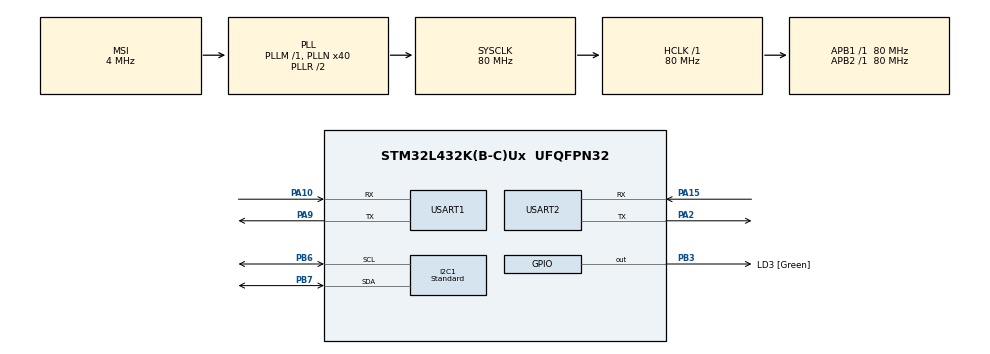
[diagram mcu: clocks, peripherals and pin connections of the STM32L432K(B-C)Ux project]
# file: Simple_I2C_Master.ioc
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I2C1.I2C_Speed_Mode=I2C_Standard
I2C1.Timing=0x10909CEC
Mcu.Family=STM32L4
Mcu.Name=STM32L432K(B-C)Ux
Mcu.Package=UFQFPN32
NVIC.I2C1_ER_IRQn=true\:0\:0\:false\:false\:true\:true\:true\:true
NVIC.I2C1_EV_IRQn=true\:0\:0\:false\:false\:true\:true\:true\:true
NVIC.PriorityGroup=NVIC_PRIORITYGROUP_4
NVIC.USART1_IRQn=true\:0\:0\:false\:false\:true\:true\:true\:true
PA10.Mode=Asynchronous
PA10.Signal=USART1_RX
PA15\ (JTDI).Mode=Asynchronous
PA15\ (JTDI).Signal=USART2_RX
PA2.Mode=Asynchronous
PA2.Signal=USART2_TX
PA9.Mode=Asynchronous
PA9.Signal=USART1_TX
PB3\ (JTDO-TRACESWO).GPIO_Label=LD3 [Green]
PB3\ (JTDO-TRACESWO).Signal=GPIO_Output
PB6.GPIO_Pu=GPIO_PULLUP
PB6.Mode=I2C
PB6.Signal=I2C1_SCL
PB7.GPIO_Pu=GPIO_PULLUP
PB7.Mode=I2C
PB7.Signal=I2C1_SDA
PC14-OSC32_IN\ (PC14).Signal=RCC_OSC32_IN
PC15-OSC32_OUT\ (PC15).Signal=RCC_OSC32_OUT
ProjectManager.HeapSize=0x200
ProjectManager.StackSize=0x400
ProjectManager.TargetToolchain=STM32CubeIDE
RCC.AHBFreq_Value=80000000
RCC.APB1Freq_Value=80000000
RCC.APB1TimFreq_Value=80000000
RCC.APB2Freq_Value=80000000
RCC.APB2TimFreq_Value=80000000
RCC.CortexFreq_Value=80000000
RCC.HCLKFreq_Value=80000000
RCC.HSE_VALUE=8000000
RCC.HSI16_VALUE=16000000
RCC.HSI48_VALUE=48000000
RCC.HSI_VALUE=16000000
RCC.LSE_VALUE=32768
RCC.MSI_VALUE=4000000
RCC.PLLMUL=RCC_PLLMUL_4
RCC.PLLN=40
RCC.SYSCLKFreq_VALUE=80000000
RCC.SYSCLKSource=RCC_SYSCLKSOURCE_PLLCLK
RCC.VCOOutputFreq_Value=160000000
USART1.VirtualMode-Asynchronous=VM_ASYNC
USART2.VirtualMode-Asynchronous=VM_ASYNC
board=NUCLEO-L432KC

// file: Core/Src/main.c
/* USER CODE BEGIN Header */
/**
 ******************************************************************************
 * @file           : main.c
 * @brief          : Main program body
 ******************************************************************************
 * @attention
 *
 * Copyright (c) 2023 STMicroelectronics.
 * All rights reserved.
 *
 * This software is licensed under terms that can be found in the LICENSE file
 * in the root directory of this software component.
 * If no LICENSE file comes with this software, it is provided AS-IS.
 *
 ******************************************************************************
 */
/* USER CODE END Header */
#include "main.h"

/* USER CODE BEGIN Includes */
#include <stdlib.h>
#include <string.h>
#include <stdio.h>
/* USER CODE END Includes */

/* USER CODE BEGIN PD */
#define TX_BUFFER_SIZE sizeof(tx_buffer)/sizeof(*(tx_buffer))
#define RX_BUFFER_SIZE sizeof(tx_buffer)/sizeof(*(tx_buffer))
/* USER CODE END PD */

I2C_HandleTypeDef hi2c1;

UART_HandleTypeDef huart1;
UART_HandleTypeDef huart2;

/* USER CODE BEGIN PV */
uint8_t tx_buffer[20] = "BMS\r";
uint8_t rx_buffer[RX_BUFFER_SIZE];
uint8_t received_data[50];
uint8_t data_received = 0;
uint32_t beat = 0;
uint8_t slave_address = 0x17 << 1;
uint8_t i2c_tx_completed = 0;
float current = 0;
float voltage = 0;
float soc_estimated = 0;
float soc_measured = 0;
float temperature = 0;
int16_t telapsed = 0;
/* USER CODE END PV */

void SystemClock_Config(void);
static void MX_GPIO_Init(void);
static void MX_I2C1_Init(void);
static void MX_USART1_UART_Init(void);
static void MX_USART2_UART_Init(void);
/* USER CODE BEGIN PFP */
void Heartbeat();
/* USER CODE END PFP */

int main(void)
{

  /* MCU Configuration--------------------------------------------------------*/

  /* Reset of all peripherals, Initializes the Flash interface and the Systick. */
  HAL_Init();

  /* Configure the system clock */
  SystemClock_Config();

  /* Initialize all configured peripherals */
  MX_GPIO_Init();
  MX_I2C1_Init();
  MX_USART1_UART_Init();
  MX_USART2_UART_Init();
  /* USER CODE BEGIN 2 */
	while (HAL_I2C_GetState(&hi2c1) != HAL_I2C_STATE_READY) {
	} //Wait until the I2C peripheral is ready to sent
	HAL_I2C_Master_Seq_Transmit_IT(&hi2c1, slave_address, tx_buffer, TX_BUFFER_SIZE, I2C_FIRST_FRAME); //Sent write request.
  /* USER CODE END 2 */

  /* Infinite loop */
  /* USER CODE BEGIN WHILE */
	while (1) {
		Heartbeat();
		if (i2c_tx_completed == 1
				&& HAL_I2C_GetState(&hi2c1) == HAL_I2C_STATE_READY) { //Slave has received write command, let's read from slave
			HAL_I2C_Master_Seq_Receive_IT(&hi2c1, slave_address, rx_buffer, RX_BUFFER_SIZE, I2C_FIRST_FRAME);
			i2c_tx_completed = 0;
		}
		if (data_received == 1) {
			// Transmission has finished, process data
			current = ((int16_t)(rx_buffer[0]<<8) | rx_buffer[1])/1000.0;
			voltage = ((int16_t)(rx_buffer[2]<<8) | rx_buffer[3])/1000.0;
			temperature = ((int16_t)(rx_buffer[4]<<8) | rx_buffer[5])/1000.0;
			soc_estimated = ((int16_t)(rx_buffer[6]<<8) | rx_buffer[7])/1000.0;
			soc_measured = ((int16_t)(rx_buffer[8]<<8) | rx_buffer[9])/1000.0;
			telapsed = ((int16_t)(rx_buffer[10]<<8) | rx_buffer[11])/1000.0;
			// Transmission has finished, let's repeat the process.
			data_received = 0; //Clean flag
			HAL_Delay(100-1); // Request data every 100ms
			while (HAL_I2C_GetState(&hi2c1) != HAL_I2C_STATE_READY) {
			}
			HAL_I2C_Master_Seq_Transmit_IT(&hi2c1, slave_address, tx_buffer, TX_BUFFER_SIZE, I2C_FIRST_FRAME);
		}
    /* USER CODE END WHILE */

	}
}

void SystemClock_Config(void)
{
  RCC_OscInitTypeDef RCC_OscInitStruct = {0};
  RCC_ClkInitTypeDef RCC_ClkInitStruct = {0};

  /** Configure the main internal regulator output voltage
  */
  if (HAL_PWREx_ControlVoltageScaling(PWR_REGULATOR_VOLTAGE_SCALE1) != HAL_OK)
  {
    Error_Handler();
  }

  /** Initializes the RCC Oscillators according to the specified parameters
  * in the RCC_OscInitTypeDef structure.
  */
  RCC_OscInitStruct.OscillatorType = RCC_OSCILLATORTYPE_MSI;
  RCC_OscInitStruct.MSIState = RCC_MSI_ON;
  RCC_OscInitStruct.MSICalibrationValue = 0;
  RCC_OscInitStruct.MSIClockRange = RCC_MSIRANGE_6;
  RCC_OscInitStruct.PLL.PLLState = RCC_PLL_ON;
  RCC_OscInitStruct.PLL.PLLSource = RCC_PLLSOURCE_MSI;
  RCC_OscInitStruct.PLL.PLLM = 1;
  RCC_OscInitStruct.PLL.PLLN = 40;
  RCC_OscInitStruct.PLL.PLLP = RCC_PLLP_DIV7;
  RCC_OscInitStruct.PLL.PLLQ = RCC_PLLQ_DIV2;
  RCC_OscInitStruct.PLL.PLLR = RCC_PLLR_DIV2;
  if (HAL_RCC_OscConfig(&RCC_OscInitStruct) != HAL_OK)
  {
    Error_Handler();
  }

  /** Initializes the CPU, AHB and APB buses clocks
  */
  RCC_ClkInitStruct.ClockType = RCC_CLOCKTYPE_HCLK|RCC_CLOCKTYPE_SYSCLK
                              |RCC_CLOCKTYPE_PCLK1|RCC_CLOCKTYPE_PCLK2;
  RCC_ClkInitStruct.SYSCLKSource = RCC_SYSCLKSOURCE_PLLCLK;
  RCC_ClkInitStruct.AHBCLKDivider = RCC_SYSCLK_DIV1;
  RCC_ClkInitStruct.APB1CLKDivider = RCC_HCLK_DIV1;
  RCC_ClkInitStruct.APB2CLKDivider = RCC_HCLK_DIV1;

  if (HAL_RCC_ClockConfig(&RCC_ClkInitStruct, FLASH_LATENCY_4) != HAL_OK)
  {
    Error_Handler();
  }
}

static void MX_I2C1_Init(void)
{

  hi2c1.Instance = I2C1;
  hi2c1.Init.Timing = 0x10909CEC;
  hi2c1.Init.OwnAddress1 = 0;
  hi2c1.Init.AddressingMode = I2C_ADDRESSINGMODE_7BIT;
  hi2c1.Init.DualAddressMode = I2C_DUALADDRESS_DISABLE;
  hi2c1.Init.OwnAddress2 = 0;
  hi2c1.Init.OwnAddress2Masks = I2C_OA2_NOMASK;
  hi2c1.Init.GeneralCallMode = I2C_GENERALCALL_DISABLE;
  hi2c1.Init.NoStretchMode = I2C_NOSTRETCH_DISABLE;
  if (HAL_I2C_Init(&hi2c1) != HAL_OK)
  {
    Error_Handler();
  }

  /** Configure Analogue filter
  */
  if (HAL_I2CEx_ConfigAnalogFilter(&hi2c1, I2C_ANALOGFILTER_ENABLE) != HAL_OK)
  {
    Error_Handler();
  }

  /** Configure Digital filter
  */
  if (HAL_I2CEx_ConfigDigitalFilter(&hi2c1, 0) != HAL_OK)
  {
    Error_Handler();
  }

}

static void MX_USART1_UART_Init(void)
{

  huart1.Instance = USART1;
  huart1.Init.BaudRate = 115200;
  huart1.Init.WordLength = UART_WORDLENGTH_8B;
  huart1.Init.StopBits = UART_STOPBITS_1;
  huart1.Init.Parity = UART_PARITY_NONE;
  huart1.Init.Mode = UART_MODE_TX_RX;
  huart1.Init.HwFlowCtl = UART_HWCONTROL_NONE;
  huart1.Init.OverSampling = UART_OVERSAMPLING_16;
  huart1.Init.OneBitSampling = UART_ONE_BIT_SAMPLE_DISABLE;
  huart1.AdvancedInit.AdvFeatureInit = UART_ADVFEATURE_NO_INIT;
  if (HAL_UART_Init(&huart1) != HAL_OK)
  {
    Error_Handler();
  }

}

static void MX_USART2_UART_Init(void)
{

  huart2.Instance = USART2;
  huart2.Init.BaudRate = 115200;
  huart2.Init.WordLength = UART_WORDLENGTH_8B;
  huart2.Init.StopBits = UART_STOPBITS_1;
  huart2.Init.Parity = UART_PARITY_NONE;
  huart2.Init.Mode = UART_MODE_TX_RX;
  huart2.Init.HwFlowCtl = UART_HWCONTROL_NONE;
  huart2.Init.OverSampling = UART_OVERSAMPLING_16;
  huart2.Init.OneBitSampling = UART_ONE_BIT_SAMPLE_DISABLE;
  huart2.AdvancedInit.AdvFeatureInit = UART_ADVFEATURE_NO_INIT;
  if (HAL_UART_Init(&huart2) != HAL_OK)
  {
    Error_Handler();
  }

}

static void MX_GPIO_Init(void)
{
  GPIO_InitTypeDef GPIO_InitStruct = {0};

  /* GPIO Ports Clock Enable */
  __HAL_RCC_GPIOC_CLK_ENABLE();
  __HAL_RCC_GPIOA_CLK_ENABLE();
  __HAL_RCC_GPIOB_CLK_ENABLE();

  /*Configure GPIO pin Output Level */
  HAL_GPIO_WritePin(LD3_GPIO_Port, LD3_Pin, GPIO_PIN_RESET);

  /*Configure GPIO pin : LD3_Pin */
  GPIO_InitStruct.Pin = LD3_Pin;
  GPIO_InitStruct.Mode = GPIO_MODE_OUTPUT_PP;
  GPIO_InitStruct.Pull = GPIO_NOPULL;
  GPIO_InitStruct.Speed = GPIO_SPEED_FREQ_LOW;
  HAL_GPIO_Init(LD3_GPIO_Port, &GPIO_InitStruct);

}

/* USER CODE BEGIN 4 */
void HAL_I2C_MasterRxCpltCallback(I2C_HandleTypeDef *hi2c) {
	data_received = 1;
}

void HAL_I2C_MasterTxCpltCallback(I2C_HandleTypeDef *hi2c) {
	i2c_tx_completed = 1;
}

void Heartbeat() {
	if (HAL_GetTick() - beat > 1000) {
		HAL_GPIO_TogglePin(GPIOB, GPIO_PIN_3);
		beat = HAL_GetTick();
	}
}

void HAL_I2C_ErrorCallback(I2C_HandleTypeDef *hi2c) {
}
/* USER CODE END 4 */

void Error_Handler(void)
{
	__disable_irq();
	while (1) {
	}
}
